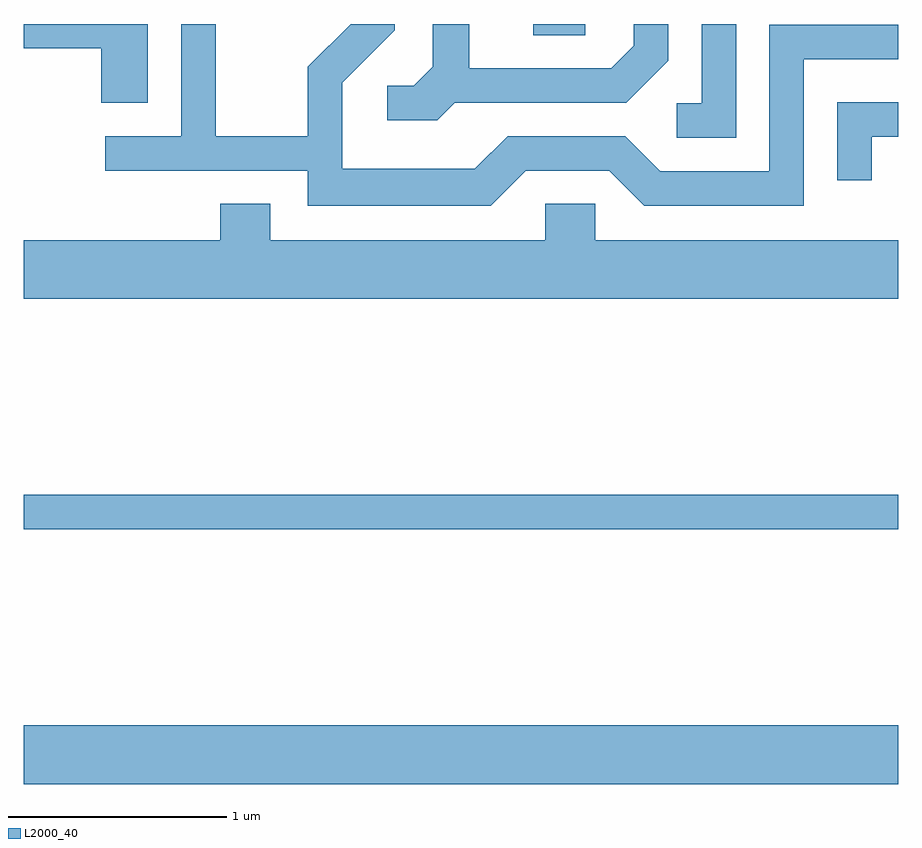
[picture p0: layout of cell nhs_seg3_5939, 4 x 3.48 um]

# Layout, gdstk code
import gdstk
lib = gdstk.Library(unit=1e-6, precision=1e-09)
def R(c, l, rs):  # rectangles x0, y0, x1, y1
    for r in rs: c.add(gdstk.rectangle(r[:2], r[2:], *l))
def P(c, l, *ps):  # polygons
    for p in ps: c.add(gdstk.Polygon(p, *l))
L2000_40 = (2000, 40)

nhs_seg3_5939 = lib.new_cell('nhs_seg3_5939')
R(nhs_seg3_5939, L2000_40, [(359.611,1170.416,363.611,1170.684), (359.611,1171.581,363.611,1171.739), (361.941,1173.841,362.179,1173.892)])
P(nhs_seg3_5939, L2000_40, [(362.869,1173.892),(362.711,1173.892),(362.711,1173.529),(362.598,1173.529),(362.598,1173.371),(362.869,1173.371)],
  [(360.179,1173.892),(359.611,1173.892),(359.611,1173.781),(359.966,1173.781),(359.966,1173.531),(360.179,1173.531)],
  [(361.582,1173.531),(362.367,1173.531),(362.559,1173.724),(362.559,1173.892),(362.401,1173.892),(362.401,1173.792),(362.299,1173.689),(361.649,1173.689),(361.649,1173.892),(361.481,1173.892),(361.481,1173.697),(361.394,1173.609),(361.273,1173.609),(361.273,1173.451),(361.502,1173.451)],
  [(361.907,1173.221),(362.289,1173.221),(362.449,1173.061),(363.179,1173.061),(363.179,1173.731),(363.611,1173.731),(363.611,1173.889),(363.021,1173.889),(363.021,1173.219),(362.522,1173.219),(362.362,1173.379),(361.824,1173.379),(361.674,1173.229),(361.069,1173.229),(361.069,1173.624),(361.309,1173.864),(361.309,1173.892),(361.106,1173.892),(360.911,1173.697),(360.911,1173.379),(360.489,1173.379),(360.489,1173.892),(360.331,1173.892),(360.331,1173.379),(359.983,1173.379),(359.983,1173.221),(360.911,1173.221),(360.911,1173.061),(361.747,1173.061)],
  [(363.489,1173.376),(363.611,1173.376),(363.611,1173.534),(363.331,1173.534),(363.331,1173.178),(363.489,1173.178)],
  [(363.611,1172.904),(362.224,1172.904),(362.224,1173.069),(361.996,1173.069),(361.996,1172.904),(360.739,1172.904),(360.739,1173.069),(360.511,1173.069),(360.511,1172.904),(359.611,1172.904),(359.611,1172.636),(363.611,1172.636)])

lib.write_gds('nhs_seg3_5939.gds')
